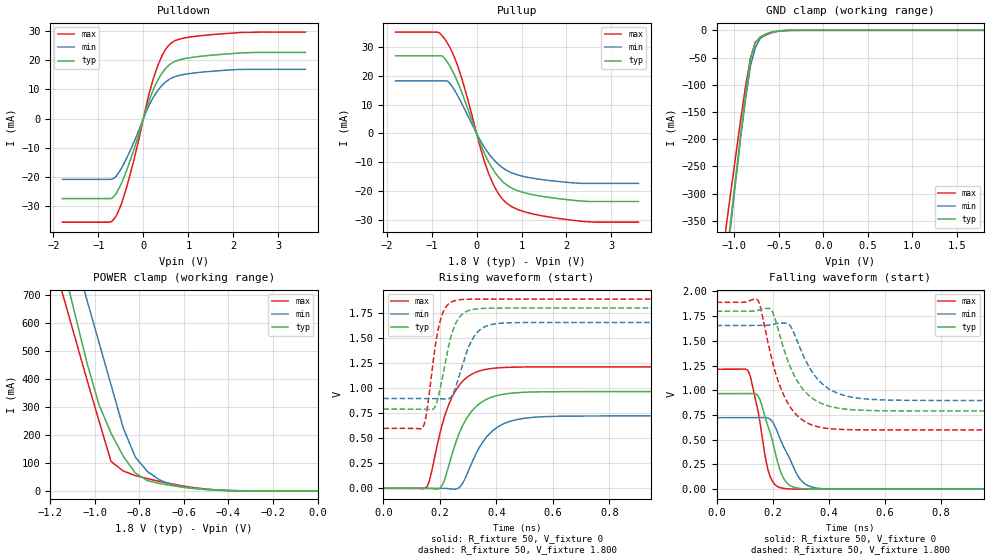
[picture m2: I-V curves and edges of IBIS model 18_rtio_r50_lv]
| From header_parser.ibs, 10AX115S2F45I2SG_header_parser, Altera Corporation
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|MODEL 18_rtio_r50_lv
[Model]   18_rtio_r50_lv
Model_type   I/O
Polarity   Non-Inverting
Enable Active-Low
Vinl   = 0.630
Vinh   = 1.170
Vmeas  = 0.900
Rref   = 10M
Cref   = 0pF
Vref   = 0.000
C_comp 1.4pF   1.4pF   1.4pF
[Model Spec]
Vinh   1.170   1.053   1.287
Vinl   0.630   0.567   0.693
[Temperature Range]   25   100   -40
[Voltage Range]   1.800   1.656   1.890
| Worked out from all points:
|   slope of the pulldown table from 0 to 0.27 V, typ, clamps not added: 23.2 ohm
|   slope of the pullup table from 0 to 0.27 V, typ, clamps not added: 27.3 ohm
|   GND clamp passes 1 mA (typ) near -0.50 V on its own axis
|   POWER clamp passes 1 mA (typ) near -0.40 V on its own axis
|   rising waveform, R_fixture 50, V_fixture 0: 20-80 % time 85.5ps typ, 91.9ps min, 78.1ps max; typ from 0 V to 0.966 V
|   falling waveform, R_fixture 50, V_fixture 0: 20-80 % time 57.5ps typ, 70.9ps min, 46ps max; typ from 0.966 V to 0 V
|   rising waveform, R_fixture 50, V_fixture 1.800: 20-80 % time 48ps typ, 58.3ps min, 39.3ps max; typ from 0.791 V to 1.8 V
|   falling waveform, R_fixture 50, V_fixture 1.800: 20-80 % time 92.1ps typ, 96.9ps min, 84.4ps max; typ from 1.8 V to 0.791 V
[GND Clamp]
| voltage   I (typ)   I (min)   I (max)
-1.8V     -1.573A    -1.567A    -1.567A
-1.091V   -420mA     -430.9mA   -359.1mA
-1.036V   -342.6mA   -352.3mA   -292.9mA
-927.3mV  -187.8mA   -194.9mA   -161.8mA
-872.7mV  -116.7mA   -125.2mA   -101.3mA
-818.2mV  -51.71mA   -64.23mA   -50.81mA
-763.6mV  -22.76mA   -32.12mA   -21.43mA
-709.1mV  -11.83mA   -14.42mA   -14.58mA
-600mV    -3.777mA   -4.499mA   -5.271mA
-490.9mV  -787.1uA   -1.229mA   -955.6uA
-381.8mV  -71.53uA   -186.4uA   -69.31uA
1.8V      0A         0A         0A
[Pulldown]
| voltage   I (typ)   I (min)   I (max)
-1.8V     -27.56mA   -20.95mA   -35.71mA
-763.6mV  -27.56mA   -20.95mA   -35.71mA
-600mV    -25.77mA   -19.8mA    -33.44mA
-490.9mV  -22.44mA   -17.25mA   -29.52mA
-272.7mV  -13.52mA   -10.3mA    -18mA
109.1mV   5.434mA    4.009mA    7.51mA
218.2mV   9.857mA    7.241mA    13.61mA
436.4mV   16.11mA    11.76mA    22.29mA
600mV     18.82mA    13.75mA    25.79mA
872.7mV   20.48mA    15.1mA     27.62mA
1.527V    21.82mA    16.29mA    28.89mA
3.6V      22.77mA    16.95mA    29.77mA
[Power Clamp]
| voltage   I (typ)   I (min)   I (max)
-1.8V     2.925A     3.049A     2.755A
-1.145V   812.2mA    989mA      704.9mA
-1.091V   636.2mA    836.3mA    552.1mA
-1.036V   460.2mA    683.5mA    399.4mA
-981.8mV  308.7mA    530.8mA    251.2mA
-927.3mV  206.1mA    378.1mA    105.1mA
-872.7mV  124.4mA    225.5mA    71.12mA
-818.2mV  63.81mA    120.7mA    54.62mA
-763.6mV  36.71mA    69.07mA    44.02mA
-654.5mV  19.09mA    21.67mA    25.01mA
-545.4mV  7.945mA    8.513mA    10.69mA
0V        0A         0A         0A
[Pullup]
| voltage   I (typ)   I (min)   I (max)
-1.8V     26.84mA    18.17mA    35.04mA
-872.7mV  26.84mA    18.17mA    35.04mA
-709.1mV  26mA       18.17mA    32.76mA
-600mV    23.5mA     17.42mA    29.95mA
-381.8mV  16.32mA    11.98mA    21.62mA
109.1mV   -4.515mA   -3.083mA   -6.269mA
272.7mV   -9.966mA   -7.014mA   -14mA
490.9mV   -15.17mA   -10.75mA   -20.93mA
709.1mV   -18.26mA   -13.09mA   -24.59mA
1.091V    -20.62mA   -15.03mA   -27.2mA
1.909V    -22.71mA   -16.76mA   -29.59mA
3.6V      -23.55mA   -17.28mA   -30.7mA
[Ramp]
dV/dt_r   5.796e-01/8.548e-11 4.336e-01/9.189e-11 7.278e-01/7.812e-11
dV/dt_f   6.053e-01/9.214e-11 4.553e-01/9.690e-11 7.746e-01/8.439e-11
R_load = 50ohms
[Rising Waveform]
R_fixture   = 50
V_fixture   = 0
V_fixture_min = 0
V_fixture_max = 0
| time   V (typ)   V (min)   V (max)
0s        122.2nV    2.885uV    125.6nV
150ps     202.4uV    17.4uV     4.958mV
167.2ps   -879uV     43.66uV    124.6mV
201.9ps   6.173mV    229.6uV    568.4mV
242.2ps   332.6mV    -7.575mV   905.9mV
294.1ps   695.8mV    129.1mV    1.104V
346ps     857.2mV    438.4mV    1.177V
403.7ps   927.4mV    610.3mV    1.203V
680.5ps   965.8mV    721.6mV    1.213V
5.762ns   966mV      722.7mV    1.213V
[Falling Waveform]
R_fixture   = 50
V_fixture   = 0
V_fixture_min = 0
V_fixture_max = 0
| time   V (typ)   V (min)   V (max)
0s        966mV      722.7mV    1.213V
114.6ps   966.8mV    722.8mV    1.185V
149ps     936.9mV    723.5mV    772.3mV
172ps     739.2mV    724.7mV    351.2mV
189.1ps   584.6mV    711.9mV    141.6mV
223.5ps   214.7mV    529.2mV    18.39mV
252.2ps   58.92mV    357.7mV    3.273mV
309.5ps   3.872mV    65.87mV    101.8uV
401.2ps   41.95uV    1.941mV    310.5nV
5.726ns   730.7nV    2.714uV    99.73nV
[Rising Waveform]
R_fixture   = 50
V_fixture   = 1.800
V_fixture_min   = 1.656
V_fixture_max   = 1.890
| time   V (typ)   V (min)   V (max)
0s        791.1mV    897mV      599mV
138.4ps   790.2mV    896.9mV    603mV
155.7ps   788.4mV    896.8mV    807.1mV
178.8ps   796mV      896.2mV    1.323V
201.9ps   1.008V     894.3mV    1.682V
242.2ps   1.545V     922.1mV    1.863V
282.6ps   1.746V     1.255V     1.887V
340.3ps   1.795V     1.579V     1.89V
455.6ps   1.8V       1.654V     1.89V
5.762ns   1.8V       1.656V     1.89V
[Falling Waveform]
R_fixture   = 50
V_fixture   = 1.800
V_fixture_min   = 1.656
V_fixture_max   = 1.890
| time   V (typ)   V (min)   V (max)
0s        1.8V       1.656V     1.89V
143.3ps   1.806V     1.656V     1.922V
154.8ps   1.815V     1.656V     1.857V
194.9ps   1.815V     1.664V     1.337V
252.2ps   1.311V     1.676V     878.7mV
315.3ps   986.4mV    1.313V     682.6mV
361.1ps   884.3mV    1.109V     630.6mV
412.7ps   831mV      994.1mV    609.4mV
705ps     791.4mV    898mV      599mV
5.726ns   791.1mV    897mV      599mV
